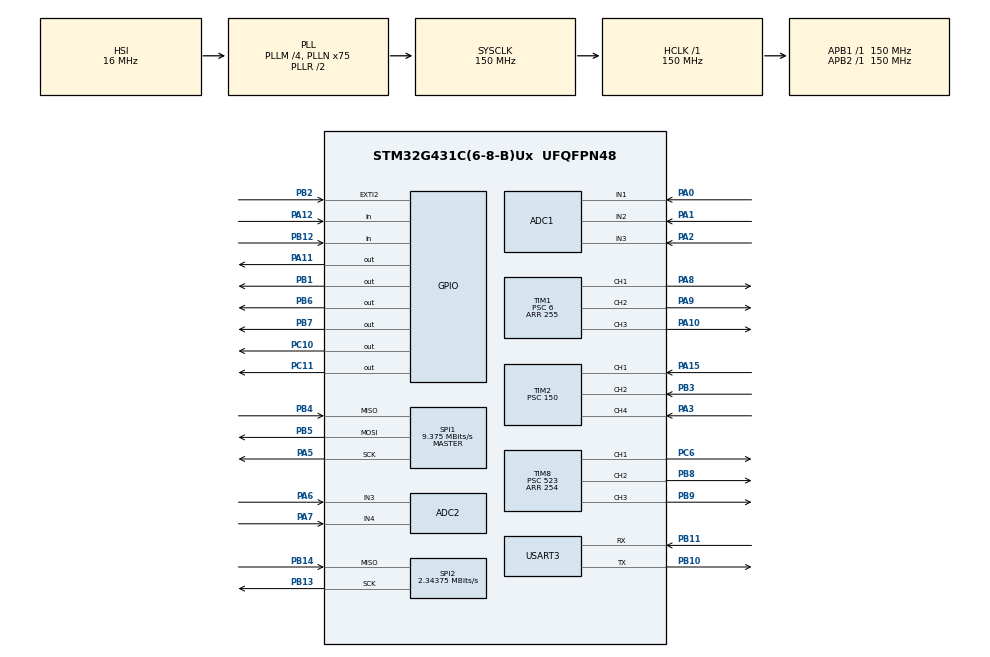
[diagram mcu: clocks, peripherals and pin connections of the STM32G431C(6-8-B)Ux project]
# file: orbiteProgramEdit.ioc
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ADC1.Channel-1\#ChannelRegularConversion=ADC_CHANNEL_1
ADC1.Channel-2\#ChannelRegularConversion=ADC_CHANNEL_1
ADC1.Channel-3\#ChannelRegularConversion=ADC_CHANNEL_1
ADC1.ClockPrescaler=ADC_CLOCK_ASYNC_DIV4
ADC1.ContinuousConvMode=DISABLE
ADC1.DMAContinuousRequests=DISABLE
ADC1.EOCSelection=ADC_EOC_SINGLE_CONV
ADC1.EnableRegularConversion=ENABLE
ADC1.ExternalTrigConv=ADC_SOFTWARE_START
ADC1.Mode=ADC_MODE_INDEPENDENT
ADC1.NbrOfConversion=3
ADC1.NbrOfConversionFlag=1
ADC1.OffsetNumber-1\#ChannelRegularConversion=ADC_OFFSET_NONE
ADC1.OffsetNumber-2\#ChannelRegularConversion=ADC_OFFSET_NONE
ADC1.OffsetNumber-3\#ChannelRegularConversion=ADC_OFFSET_NONE
ADC1.Rank-1\#ChannelRegularConversion=1
ADC1.Rank-2\#ChannelRegularConversion=2
ADC1.Rank-3\#ChannelRegularConversion=3
ADC1.SamplingTime-1\#ChannelRegularConversion=ADC_SAMPLETIME_12CYCLES_5
ADC1.SamplingTime-2\#ChannelRegularConversion=ADC_SAMPLETIME_12CYCLES_5
ADC1.SamplingTime-3\#ChannelRegularConversion=ADC_SAMPLETIME_12CYCLES_5
ADC1.master=1
ADC2.Channel-1\#ChannelRegularConversion=ADC_CHANNEL_3
ADC2.Channel-2\#ChannelRegularConversion=ADC_CHANNEL_4
ADC2.ClockPrescaler=ADC_CLOCK_ASYNC_DIV4
ADC2.ContinuousConvMode=ENABLE
ADC2.EOCSelection=ADC_EOC_SEQ_CONV
ADC2.NbrOfConversion=2
ADC2.NbrOfConversionFlag=1
ADC2.OffsetNumber-1\#ChannelRegularConversion=ADC_OFFSET_NONE
ADC2.OffsetNumber-2\#ChannelRegularConversion=ADC_OFFSET_NONE
ADC2.Rank-1\#ChannelRegularConversion=1
ADC2.Rank-2\#ChannelRegularConversion=2
ADC2.SamplingTime-1\#ChannelRegularConversion=ADC_SAMPLETIME_24CYCLES_5
ADC2.SamplingTime-2\#ChannelRegularConversion=ADC_SAMPLETIME_24CYCLES_5
Mcu.Family=STM32G4
Mcu.Name=STM32G431C(6-8-B)Ux
Mcu.Package=UFQFPN48
NVIC.EXTI2_IRQn=true\:0\:0\:false\:false\:true\:true\:true\:true
NVIC.PriorityGroup=NVIC_PRIORITYGROUP_4
NVIC.TIM2_IRQn=true\:0\:0\:false\:false\:true\:true\:true\:true
NVIC.USART3_IRQn=true\:0\:0\:false\:false\:true\:true\:true\:true
PA0.Mode=IN1-Single-Ended
PA0.Signal=ADC1_IN1
PA1.Mode=IN2-Single-Ended
PA1.Signal=ADC1_IN2
PA10.Signal=S_TIM1_CH3
PA11.Signal=GPIO_Output
PA12.Signal=GPIO_Input
PA13.Mode=Serial_Wire
PA13.Signal=SYS_JTMS-SWDIO
PA14.Mode=Serial_Wire
PA14.Signal=SYS_JTCK-SWCLK
PA15.Signal=S_TIM2_CH1
PA2.Mode=IN3-Single-Ended
PA2.Signal=ADC1_IN3
PA3.Signal=S_TIM2_CH4
PA5.Mode=Full_Duplex_Master
PA5.Signal=SPI1_SCK
PA6.Mode=IN3-Single-Ended
PA6.Signal=ADC2_IN3
PA7.Mode=IN4-Single-Ended
PA7.Signal=ADC2_IN4
PA8.Signal=S_TIM1_CH1
PA9.Signal=S_TIM1_CH2
PB1.Signal=GPIO_Output
PB10.Mode=Asynchronous
PB10.Signal=USART3_TX
PB11.Mode=Asynchronous
PB11.Signal=USART3_RX
PB12.Signal=GPIO_Input
PB13.Mode=RX_Only_Simplex_Unidirect_Master
PB13.Signal=SPI2_SCK
PB14.Mode=RX_Only_Simplex_Unidirect_Master
PB14.Signal=SPI2_MISO
PB2.Signal=GPXTI2
PB3.Signal=S_TIM2_CH2
PB4.Mode=Full_Duplex_Master
PB4.Signal=SPI1_MISO
PB5.Mode=Full_Duplex_Master
PB5.Signal=SPI1_MOSI
PB6.Signal=GPIO_Output
PB7.Signal=GPIO_Output
PB8-BOOT0.Signal=S_TIM8_CH2
PB9.Signal=S_TIM8_CH3
PC10.Signal=GPIO_Output
PC11.Signal=GPIO_Output
PC6.Signal=S_TIM8_CH1
ProjectManager.HeapSize=0x200
ProjectManager.StackSize=0x400
ProjectManager.TargetToolchain=Makefile
RCC.ADC12Freq_Value=150000000
RCC.AHBFreq_Value=150000000
RCC.APB1Freq_Value=150000000
RCC.APB1TimFreq_Value=150000000
RCC.APB2Freq_Value=150000000
RCC.APB2TimFreq_Value=150000000
RCC.CortexFreq_Value=150000000
RCC.EXTERNAL_CLOCK_VALUE=12288000
RCC.HCLKFreq_Value=150000000
RCC.HSE_VALUE=8000000
RCC.HSI48_VALUE=48000000
RCC.HSI_VALUE=16000000
RCC.LSE_VALUE=32768
RCC.PLLM=RCC_PLLM_DIV4
RCC.PLLN=75
RCC.SYSCLKFreq_VALUE=150000000
RCC.SYSCLKSource=RCC_SYSCLKSOURCE_PLLCLK
RCC.USBFreq_Value=150000000
RCC.VCOOutputFreq_Value=300000000
SH.S_TIM1_CH1.0=TIM1_CH1,PWM Generation1 CH1
SH.S_TIM1_CH2.0=TIM1_CH2,PWM Generation2 CH2
SH.S_TIM1_CH3.0=TIM1_CH3,PWM Generation3 CH3
SH.S_TIM2_CH1.0=TIM2_CH1,Input_Capture1_from_TI1
SH.S_TIM2_CH2.0=TIM2_CH2,Input_Capture2_from_TI2
SH.S_TIM2_CH4.0=TIM2_CH4,Input_Capture4_from_TI4
SH.S_TIM8_CH1.0=TIM8_CH1,PWM Generation1 CH1
SH.S_TIM8_CH2.0=TIM8_CH2,PWM Generation2 CH2
SH.S_TIM8_CH3.0=TIM8_CH3,PWM Generation3 CH3
SPI1.BaudRatePrescaler=SPI_BAUDRATEPRESCALER_16
SPI1.CLKPolarity=SPI_POLARITY_HIGH
SPI1.CalculateBaudRate=9.375 MBits/s
SPI1.DataSize=SPI_DATASIZE_16BIT
SPI1.Direction=SPI_DIRECTION_2LINES
SPI1.Mode=SPI_MODE_MASTER
SPI1.VirtualType=VM_MASTER
SPI2.BaudRatePrescaler=SPI_BAUDRATEPRESCALER_64
SPI2.CLKPolarity=SPI_POLARITY_HIGH
SPI2.CalculateBaudRate=2.34375 MBits/s
SPI2.DataSize=SPI_DATASIZE_12BIT
SPI2.Direction=SPI_DIRECTION_2LINES_RXONLY
SPI2.Mode=SPI_MODE_MASTER
SPI2.VirtualType=VM_MASTER
TIM1.Channel-PWM\ Generation1\ CH1=TIM_CHANNEL_1
TIM1.Channel-PWM\ Generation2\ CH2=TIM_CHANNEL_2
TIM1.Channel-PWM\ Generation3\ CH3=TIM_CHANNEL_3
TIM1.CounterMode=TIM_COUNTERMODE_CENTERALIGNED1
TIM1.OCMode_PWM-PWM\ Generation1\ CH1=TIM_OCMODE_PWM1
TIM1.OCMode_PWM-PWM\ Generation2\ CH2=TIM_OCMODE_PWM1
TIM1.OCMode_PWM-PWM\ Generation3\ CH3=TIM_OCMODE_PWM1
TIM1.PeriodNoDither=255
TIM1.Prescaler=6
TIM1.TIM_MasterOutputTrigger=TIM_TRGO_UPDATE
TIM17.Prescaler=150
TIM2.Channel-Input_Capture1_from_TI1=TIM_CHANNEL_1
TIM2.Channel-Input_Capture2_from_TI2=TIM_CHANNEL_2
TIM2.Channel-Input_Capture4_from_TI4=TIM_CHANNEL_4
TIM2.ICPolarity_CH1=TIM_INPUTCHANNELPOLARITY_BOTHEDGE
TIM2.Prescaler=150
TIM8.Channel-PWM\ Generation1\ CH1=TIM_CHANNEL_1
TIM8.Channel-PWM\ Generation2\ CH2=TIM_CHANNEL_2
TIM8.Channel-PWM\ Generation3\ CH3=TIM_CHANNEL_3
TIM8.OCMode_PWM-PWM\ Generation3\ CH3=TIM_OCMODE_PWM1
TIM8.PeriodNoDither=254
TIM8.Prescaler=523
USART3.VirtualMode-Asynchronous=VM_ASYNC
VP_SYS_VS_DBSignals.Mode=DisableDeadBatterySignals
VP_TIM17_VS_ClockSourceINT.Mode=Enable_Timer
VP_TIM1_VS_ClockSourceINT.Mode=Internal
board=custom

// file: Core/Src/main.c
/* USER CODE BEGIN Header */
/**
  ******************************************************************************
  * @file           : main.c
  * @brief          : Main program body
  ******************************************************************************
  * @attention
  *
  * Copyright (c) 2024 STMicroelectronics.
  * All rights reserved.
  *
  * This software is licensed under terms that can be found in the LICENSE file
  * in the root directory of this software component.
  * If no LICENSE file comes with this software, it is provided AS-IS.
  *
  ******************************************************************************
  */
/* USER CODE END Header */
#include "main.h"

/* USER CODE BEGIN Includes */
#include "motor.h"
#include "stm32g4xx.h"
#include "stm32g431xx.h"
#include "stm32g4xx_hal.h"

/* USER CODE END Includes */

/* USER CODE BEGIN PD */
#define ADC_BUF_LENGTH 4096
#define TIMCLOCK   150000000
#define PRESCALAR  150
/* USER CODE END PD */

ADC_HandleTypeDef hadc1;
ADC_HandleTypeDef hadc2;

SPI_HandleTypeDef hspi1;
SPI_HandleTypeDef hspi2;

TIM_HandleTypeDef htim1;
TIM_HandleTypeDef htim2;
TIM_HandleTypeDef htim8;
TIM_HandleTypeDef htim17;

UART_HandleTypeDef huart3;

/* USER CODE BEGIN PV */
uint16_t adc1Buf[3];
uint16_t adc2Buf[2];
uint8_t adcDataReady;
uint8_t uartDataReady;
uint32_t tim1Val1 = 0;
uint32_t tim1Val2 = 0;
uint32_t Difference1 = 0;
int isFirstCap1 = 0;
float frequency1 = 0;
uint32_t tim2Val1 = 0;
uint32_t tim2Val2 = 0;
uint32_t Difference2 = 0;
int isFirstCap2 = 0;
float frequency2 = 0;
uint32_t tim3Val1 = 0;
uint32_t tim3Val2 = 0;
uint32_t Difference3 = 0;
int isFirstCap3 = 0;
float frequency3 = 0;
float combinedSpeed;
float lastSpeedErr;

double angle;
motor_t motor;
gpio_Pin Hall_1 = { .gpioGroup = GPIOA, .gpioPin = GPIO_PIN_3 };        //TIM2 CH4
gpio_Pin Hall_2 = { .gpioGroup = GPIOB, .gpioPin = GPIO_PIN_3 };        //TIM2 CH2
gpio_Pin Hall_3 = { .gpioGroup = GPIOA, .gpioPin = GPIO_PIN_15 };       //TIM2 CH1
gpio_Pin fault = { .gpioGroup = GPIOA, .gpioPin = GPIO_PIN_12 };	//FAULT
gpio_Pin txen = { .gpioGroup = GPIOB, .gpioPin = GPIO_PIN_1 };            //txen
gpio_Pin imuInt = { .gpioGroup = GPIOB, .gpioPin = GPIO_PIN_2 };
gpio_Pin imuCS = { .gpioGroup = GPIOA, .gpioPin = GPIO_PIN_11 };
double newAngle;
bool doDMArx;
gpio_Pin ena = { .gpioGroup = GPIOC, .gpioPin = GPIO_PIN_10 };            //motor ENA
gpio_Pin enb = { .gpioGroup = GPIOC, .gpioPin = GPIO_PIN_11 };            //motor ENB
gpio_Pin enc = { .gpioGroup = GPIOB, .gpioPin = GPIO_PIN_6 };            //motor ENC
gpio_Pin motor_Sleep = { .gpioGroup = GPIOB, .gpioPin = GPIO_PIN_7 };          //motor SLEEP
gpio_Pin proxi = { .gpioGroup = GPIOB, .gpioPin = GPIO_PIN_12 };         //proxy
uint8_t rx_buff[5];
uint8_t isDA[] = {0xDA, 0XBA, 0xD0, 0x00};
uint8_t retDA[] = {0x00, 0xD0, 0xBA, 0xDA};

int address[8] = {0,1, 1, 0, 1, 1, 0, 0};
int startState;
int nextState;
uint32_t timVal1 = 0;
uint32_t timVal2 = 0;
uint32_t Difference = 0;
int isFirstCap = 0;
float frequency = 0;
uint8_t lastHallState;
int hallCount;
int revolutions;
int timerCount;
int toggleState;
uint32_t node = 0x69;
/* USER CODE END PV */

void SystemClock_Config(void);
static void MX_GPIO_Init(void);
static void MX_ADC1_Init(void);
static void MX_ADC2_Init(void);
static void MX_SPI1_Init(void);
static void MX_TIM1_Init(void);
static void MX_TIM2_Init(void);
static void MX_TIM8_Init(void);
static void MX_USART3_UART_Init(void);
static void MX_SPI2_Init(void);
static void MX_TIM17_Init(void);
/* USER CODE BEGIN PFP */
void RGB_Init(void);
void RGB_setIntensity(uint8_t red, uint8_t green, uint8_t blue);
/* USER CODE END PFP */

/* USER CODE BEGIN 0 */
void HAL_UART_RxCpltCallback(UART_HandleTypeDef *huart){
    if(1){  // RX is complete
        // SYNC
        if(rx_buff[0] == isDA[0] && rx_buff[1] == isDA[1] && rx_buff[2] == isDA[2] && rx_buff[3] == isDA[3]){
        	RGB_setIntensity(186, 26, 133); //186, 26, 133
        	HAL_GPIO_WritePin(txen.gpioGroup, txen.gpioPin, 1); // setting txen high
        	HAL_UART_Transmit(&huart3, retDA, 4, 100);
        	HAL_GPIO_WritePin(txen.gpioGroup, txen.gpioPin, 0); // setting txen low
        }
    }
}
void readAccel(void){
	int buffer[8];
	int rxBuffer[8];
	buffer[0] = 1; // read mode
	HAL_GPIO_WritePin(imuCS.gpioGroup, imuCS.gpioPin, 0); // setting CS LOW
	for(int i = 1; i < 8; i++){
		buffer[i] = address[i-1];
	}
	HAL_SPI_Transmit(&hspi1, &buffer, 1, 100);
	HAL_SPI_Receive(&hspi1, rxBuffer, 1, 100);
	HAL_GPIO_WritePin(imuCS.gpioGroup, imuCS.gpioPin, 1);// setting CS HIGH
}
void HAL_ADC_ConvCpltCallback(ADC_HandleTypeDef *hadc){
  _adcHandler(&motor);
  //start again
  //HAL_ADC_Start_DMA(motor.adc, (uint32_t *) motor.adcData, 3);
  return;
}
void goTo(int steps){
	int timeSteps;
	int lastStep;
	motor.hallCount = 0;
	HAL_GPIO_WritePin(motor_Sleep.gpioGroup, motor_Sleep.gpioPin, 1);
	HAL_TIM_Base_Start(&htim17);
	while(motor.hallCount < steps){
		readHalls(&motor);
		timeSteps = __HAL_TIM_GET_COUNTER(&htim17);
		MOTOR_SVPWMtask(&motor);
		motor.speed =(double) (motor.hallCount)/(timeSteps - lastStep);
		lastStep = timeSteps;
		if(motor.hallspeed > 20.0f){
			motor.dutyCycle -= 0.0001;
		}
	}
	HAL_TIM_Base_Stop(&htim17);
	HAL_GPIO_WritePin(motor_Sleep.gpioGroup, motor_Sleep.gpioPin, 0);
}
void RGB_Init(void){
  // initiate all pins for RGB LED
  HAL_TIM_PWM_Start(&htim8, TIM_CHANNEL_1);
  HAL_TIM_PWM_Start(&htim8, TIM_CHANNEL_2);
  HAL_TIM_PWM_Start(&htim8, TIM_CHANNEL_3);
}

void HAL_TIM_IC_CaptureCallback(TIM_HandleTypeDef *htim)
{
	if (HAL_TIM_GetActiveChannel(htim) == HAL_TIM_ACTIVE_CHANNEL_1)
	{
		motor.hallCount++;
		if (isFirstCap1==0) // if the first rising edge is not captured
			{
			tim1Val1 = HAL_TIM_ReadCapturedValue(htim, TIM_CHANNEL_1); // read the first value
			isFirstCap1 = 1;  // set the first captured as true
			}
		else   // If the first rising edge is captured, now we will capture the second edge
		{
			tim1Val2 = HAL_TIM_ReadCapturedValue(htim, TIM_CHANNEL_1);  // read second value
			if (tim1Val2 > tim1Val1)
			{
				Difference1 = tim1Val2-tim1Val1;
			}
			else if (tim1Val1 > tim1Val2)
				{
					Difference1 = (0xffffffff - tim1Val1) + tim1Val2;
				}
			float refClock = TIMCLOCK/(PRESCALAR);
			frequency1 = refClock/Difference1;
			__HAL_TIM_SET_COUNTER(htim, 0);  // reset the counter
			isFirstCap1 = 0; // set it back to false
			motor.hallspeed = (frequency1);
		}
	}
	if (HAL_TIM_GetActiveChannel(htim) == HAL_TIM_ACTIVE_CHANNEL_2)
		{
			motor.hallCount++;
		}
	if (HAL_TIM_GetActiveChannel(htim) == HAL_TIM_ACTIVE_CHANNEL_4)
		{
			motor.hallCount++;
		}
	int timeSteps;
	HAL_TIM_Base_Stop(&htim17);
	timeSteps = __HAL_TIM_GET_COUNTER(&htim17);
	float refClock = TIMCLOCK/(PRESCALAR);
	motor.speed = (60.0f * 3.14159 / 180.0f )*((double)refClock/timeSteps);
	htim17.Instance->CNT = 0;
	HAL_TIM_Base_Start(&htim17);
/**
	if (HAL_TIM_GetActiveChannel(htim) == HAL_TIM_ACTIVE_CHANNEL_2)
	{
		if (isFirstCap2==0) // if the first rising edge is not captured
			{
			tim2Val1 = HAL_TIM_ReadCapturedValue(htim, TIM_CHANNEL_2); // read the first value
			isFirstCap2 = 1;  // set the first captured as true
			}
		else   // If the first rising edge is captured, now we will capture the second edge
		{
			tim2Val2 = HAL_TIM_ReadCapturedValue(htim, TIM_CHANNEL_2);  // read second value
			if (tim2Val2 > tim2Val1)
			{
				Difference2 = tim2Val2-tim2Val1;
			}
			else if (tim2Val1 > tim2Val2)
				{
					Difference2 = (0xffffffff - tim2Val1) + tim2Val2;
				}
			float refClock = TIMCLOCK/(PRESCALAR);
			frequency2 = refClock/Difference2;
			__HAL_TIM_SET_COUNTER(htim, 0);  // reset the counter
			isFirstCap2 = 0; // set it back to false
			motor.hallspeed = (frequency2 / 2);
		}
	}
	if (HAL_TIM_GetActiveChannel(htim) == HAL_TIM_ACTIVE_CHANNEL_4)
	{
		if (isFirstCap3==0) // if the first rising edge is not captured
			{
			tim3Val1 = HAL_TIM_ReadCapturedValue(htim, TIM_CHANNEL_4); // read the first value
			isFirstCap3 = 1;  // set the first captured as true
			}
		else   // If the first rising edge is captured, now we will capture the second edge
		{
			tim3Val2 = HAL_TIM_ReadCapturedValue(htim, TIM_CHANNEL_4);  // read second value
			if (tim3Val2 > tim3Val1)
			{
				Difference3 = tim3Val2-tim3Val1;
			}
3:59
else if (tim3Val1 > tim3Val2)
				{
					Difference3 = (0xffffffff - tim3Val1) + tim3Val2;
				}
			float refClock = TIMCLOCK/(PRESCALAR);
			frequency3 = refClock/Difference3;
			__HAL_TIM_SET_COUNTER(htim, 0);  // reset the counter
			isFirstCap3 = 0; // set it back to false
			motor.hallspeed = (frequency3 / 2);
		}
	}
**/
	return;
}
void RGB_setIntensity(uint8_t red, uint8_t green, uint8_t blue){
  if(red > 255){
    red = 255;
  }
  else if(red < 0){
    red = 0;
  }
  if(blue > 255){
    blue = 255;
  }
  else if(blue < 0){
    blue = 0;
  }
  if(green > 255){
    green = 255;
  }
  else if(green < 0){
    green = 0;
  }
  htim8.Instance->CCR1 = red;
  htim8.Instance->CCR2 = green;
  htim8.Instance->CCR3 = blue;
}
/* USER CODE END 0 */

int main(void)
{

  /* MCU Configuration--------------------------------------------------------*/

  /* Reset of all peripherals, Initializes the Flash interface and the Systick. */
  HAL_Init();

  /* Configure the system clock */
  SystemClock_Config();

  /* Initialize all configured peripherals */
  MX_GPIO_Init();
  MX_ADC1_Init();
  MX_ADC2_Init();
  MX_SPI1_Init();
  MX_TIM1_Init();
  MX_TIM2_Init();
  MX_TIM8_Init();
  MX_USART3_UART_Init();
  MX_SPI2_Init();
  MX_TIM17_Init();
  /* USER CODE BEGIN 2 */
  // Set up joystick
  //input capture
  //HAL_TIM_IC_Start_IT(&htim2, TIM_CHANNEL_1);
  //HAL_TIM_IC_Start_IT(&htim2, TIM_CHANNEL_2);
  //HAL_TIM_IC_Start_IT(&htim2, TIM_CHANNEL_4);
  // set up motor struct
  motor.pwm = &htim1;
  motor.adc = &hadc1;
  motor.encoder = &hspi2;
  // Enable pins
  motor.enablePins[0] = ena;
  motor.enablePins[1] = enb;
  motor.enablePins[2] = enc;
  motor.motorSleep = motor_Sleep;
  motor.hallPins[0] = Hall_1;
  motor.hallPins[1] = Hall_2;
  motor.hallPins[2] = Hall_3;
  motor.dutyCycle = 0.3;
  motor.dir = 1;        // make go forward
  HAL_GPIO_WritePin(motor_Sleep.gpioGroup, motor_Sleep.gpioPin, 1);
  MOTOR_init(&motor);
  if( HAL_TIM_IC_Start_IT(&htim2, TIM_CHANNEL_1) != HAL_OK){
  	  Error_Handler();
  }
  if( HAL_TIM_IC_Start_IT(&htim2, TIM_CHANNEL_2) != HAL_OK){
	  Error_Handler();
  }
  if( HAL_TIM_IC_Start_IT(&htim2, TIM_CHANNEL_4) != HAL_OK){
  	  Error_Handler();
  }
  toggleState = 0;
//
  //VIC_Serial_Init(node, &huart3, txen.gpioGroup,  txen.gpioPin, true, &hdma_usart3_rx);
  //uint16_t angle;
  //HAL_ADC_Start_DMA(motor.adc, &motor.adcData, 3); // start ADC DMA
  double kp = 0.0000003;
  double kd = 0.0008;
  double lastDuty = 0;
  double speedErr = 0;
	//goTo(5000);
  /* USER CODE END 2 */

  /* Infinite loop */
  while (1)
  {

    /* USER CODE BEGIN 3 */
	    //RGB_setIntensity(0, 255, 191);
	    readHalls(&motor);
	    /**
	    if(motor.hallState != motor.lastHallState){
	  	  if(motor.hallState == 0b100){
	  		  if(toggleState == 1){
	  			  HAL_TIM_Base_Stop(&htim17);
	  			  hallCount = __HAL_TIM_GET_COUNTER(&htim17);
	  			  htim17.Instance->CNT = 0;
	  			  toggleState = 0;
	  			  float refClock = TIMCLOCK/(PRESCALAR);
	  			  motor.stateSpeed = 1.0f /(refClock/hallCount);
	  		  }
	  		  else{
		  		  revolutions++;
		  		  HAL_TIM_Base_Start(&htim17);
		  		  toggleState = 1;
	  		  }
	  	  }
	    }
	    **/
	    //motor.angle = motor.angle + (double)(htim17.Instance->CNT / 255);
	    /**
	  motor.lastHallState = motor.hallState;
    **/
	  speedErr = (double)(100.0f - motor.hallspeed);
	  motor.dutyCycle = motor.dutyCycle + (double)(kp *speedErr) + (double)(kd * (speedErr - lastSpeedErr));
		if(motor.dutyCycle > 0.4){
			motor.dutyCycle = 0.4f;
		}
		else if(motor.dutyCycle < 0.005f){
			motor.dutyCycle = 0.005f;
		}

	    //angle  = readEncoder(&motor);
	    //Command_Task();
	    //HAL_GPIO_WritePin(txen.gpioGroup, txen.gpioPin, 1); // setting txen high
	    //HAL_UART_Transmit(&huart3, isDA, 4, 100);
	    //HAL_GPIO_WritePin(txen.gpioGroup, txen.gpioPin, 0); // setting txen low
	    //HAL_Delay(1);
	    MOTOR_SVPWMtask(&motor);
	    //MOTOR_task(&motor); // spins motor continu` ously
	    //MOTOR_FOCtask(&motor);
	    //readAccel();
	    lastSpeedErr = speedErr;
		lastDuty = motor.dutyCycle;
  }
  /* USER CODE END 3 */
}

void SystemClock_Config(void)
{
  RCC_OscInitTypeDef RCC_OscInitStruct = {0};
  RCC_ClkInitTypeDef RCC_ClkInitStruct = {0};

  /** Configure the main internal regulator output voltage
  */
  HAL_PWREx_ControlVoltageScaling(PWR_REGULATOR_VOLTAGE_SCALE1);

  /** Initializes the RCC Oscillators according to the specified parameters
  * in the RCC_OscInitTypeDef structure.
  */
  RCC_OscInitStruct.OscillatorType = RCC_OSCILLATORTYPE_HSI;
  RCC_OscInitStruct.HSIState = RCC_HSI_ON;
  RCC_OscInitStruct.HSICalibrationValue = RCC_HSICALIBRATION_DEFAULT;
  RCC_OscInitStruct.PLL.PLLState = RCC_PLL_ON;
  RCC_OscInitStruct.PLL.PLLSource = RCC_PLLSOURCE_HSI;
  RCC_OscInitStruct.PLL.PLLM = RCC_PLLM_DIV4;
  RCC_OscInitStruct.PLL.PLLN = 75;
  RCC_OscInitStruct.PLL.PLLP = RCC_PLLP_DIV2;
  RCC_OscInitStruct.PLL.PLLQ = RCC_PLLQ_DIV2;
  RCC_OscInitStruct.PLL.PLLR = RCC_PLLR_DIV2;
  if (HAL_RCC_OscConfig(&RCC_OscInitStruct) != HAL_OK)
  {
    Error_Handler();
  }

  /** Initializes the CPU, AHB and APB buses clocks
  */
  RCC_ClkInitStruct.ClockType = RCC_CLOCKTYPE_HCLK|RCC_CLOCKTYPE_SYSCLK
                              |RCC_CLOCKTYPE_PCLK1|RCC_CLOCKTYPE_PCLK2;
  RCC_ClkInitStruct.SYSCLKSource = RCC_SYSCLKSOURCE_PLLCLK;
  RCC_ClkInitStruct.AHBCLKDivider = RCC_SYSCLK_DIV1;
  RCC_ClkInitStruct.APB1CLKDivider = RCC_HCLK_DIV1;
  RCC_ClkInitStruct.APB2CLKDivider = RCC_HCLK_DIV1;

  if (HAL_RCC_ClockConfig(&RCC_ClkInitStruct, FLASH_LATENCY_4) != HAL_OK)
  {
    Error_Handler();
  }
}

static void MX_ADC1_Init(void)
{

  ADC_MultiModeTypeDef multimode = {0};
  ADC_ChannelConfTypeDef sConfig = {0};

  /** Common config
  */
  hadc1.Instance = ADC1;
  hadc1.Init.ClockPrescaler = ADC_CLOCK_ASYNC_DIV4;
  hadc1.Init.Resolution = ADC_RESOLUTION_12B;
  hadc1.Init.DataAlign = ADC_DATAALIGN_RIGHT;
  hadc1.Init.GainCompensation = 0;
  hadc1.Init.ScanConvMode = ADC_SCAN_ENABLE;
  hadc1.Init.EOCSelection = ADC_EOC_SINGLE_CONV;
  hadc1.Init.LowPowerAutoWait = DISABLE;
  hadc1.Init.ContinuousConvMode = DISABLE;
  hadc1.Init.NbrOfConversion = 3;
  hadc1.Init.DiscontinuousConvMode = DISABLE;
  hadc1.Init.ExternalTrigConv = ADC_SOFTWARE_START;
  hadc1.Init.ExternalTrigConvEdge = ADC_EXTERNALTRIGCONVEDGE_NONE;
  hadc1.Init.DMAContinuousRequests = DISABLE;
  hadc1.Init.Overrun = ADC_OVR_DATA_PRESERVED;
  hadc1.Init.OversamplingMode = DISABLE;
  if (HAL_ADC_Init(&hadc1) != HAL_OK)
  {
    Error_Handler();
  }

  /** Configure the ADC multi-mode
  */
  multimode.Mode = ADC_MODE_INDEPENDENT;
  if (HAL_ADCEx_MultiModeConfigChannel(&hadc1, &multimode) != HAL_OK)
  {
    Error_Handler();
  }

  /** Configure Regular Channel
  */
  sConfig.Channel = ADC_CHANNEL_1;
  sConfig.Rank = ADC_REGULAR_RANK_1;
  sConfig.SamplingTime = ADC_SAMPLETIME_12CYCLES_5;
  sConfig.SingleDiff = ADC_SINGLE_ENDED;
  sConfig.OffsetNumber = ADC_OFFSET_NONE;
  sConfig.Offset = 0;
  if (HAL_ADC_ConfigChannel(&hadc1, &sConfig) != HAL_OK)
  {
    Error_Handler();
  }

  /** Configure Regular Channel
  */
  sConfig.Rank = ADC_REGULAR_RANK_2;
  if (HAL_ADC_ConfigChannel(&hadc1, &sConfig) != HAL_OK)
  {
    Error_Handler();
  }

  /** Configure Regular Channel
  */
  sConfig.Rank = ADC_REGULAR_RANK_3;
  if (HAL_ADC_ConfigChannel(&hadc1, &sConfig) != HAL_OK)
  {
    Error_Handler();
  }

}

static void MX_ADC2_Init(void)
{

  ADC_ChannelConfTypeDef sConfig = {0};

  /** Common config
  */
  hadc2.Instance = ADC2;
  hadc2.Init.ClockPrescaler = ADC_CLOCK_ASYNC_DIV4;
  hadc2.Init.Resolution = ADC_RESOLUTION_12B;
  hadc2.Init.DataAlign = ADC_DATAALIGN_RIGHT;
  hadc2.Init.GainCompensation = 0;
  hadc2.Init.ScanConvMode = ADC_SCAN_ENABLE;
  hadc2.Init.EOCSelection = ADC_EOC_SEQ_CONV;
  hadc2.Init.LowPowerAutoWait = DISABLE;
  hadc2.Init.ContinuousConvMode = ENABLE;
  hadc2.Init.NbrOfConversion = 2;
  hadc2.Init.DiscontinuousConvMode = DISABLE;
  hadc2.Init.ExternalTrigConv = ADC_SOFTWARE_START;
  hadc2.Init.ExternalTrigConvEdge = ADC_EXTERNALTRIGCONVEDGE_NONE;
  hadc2.Init.DMAContinuousRequests = DISABLE;
  hadc2.Init.Overrun = ADC_OVR_DATA_PRESERVED;
  hadc2.Init.OversamplingMode = DISABLE;
  if (HAL_ADC_Init(&hadc2) != HAL_OK)
  {
    Error_Handler();
  }

  /** Configure Regular Channel
  */
  sConfig.Channel = ADC_CHANNEL_3;
  sConfig.Rank = ADC_REGULAR_RANK_1;
  sConfig.SamplingTime = ADC_SAMPLETIME_24CYCLES_5;
  sConfig.SingleDiff = ADC_SINGLE_ENDED;
  sConfig.OffsetNumber = ADC_OFFSET_NONE;
  sConfig.Offset = 0;
  if (HAL_ADC_ConfigChannel(&hadc2, &sConfig) != HAL_OK)
  {
    Error_Handler();
  }

  /** Configure Regular Channel
  */
  sConfig.Channel = ADC_CHANNEL_4;
  sConfig.Rank = ADC_REGULAR_RANK_2;
  if (HAL_ADC_ConfigChannel(&hadc2, &sConfig) != HAL_OK)
  {
    Error_Handler();
  }

}

static void MX_SPI1_Init(void)
{

  /* SPI1 parameter configuration*/
  hspi1.Instance = SPI1;
  hspi1.Init.Mode = SPI_MODE_MASTER;
  hspi1.Init.Direction = SPI_DIRECTION_2LINES;
  hspi1.Init.DataSize = SPI_DATASIZE_16BIT;
  hspi1.Init.CLKPolarity = SPI_POLARITY_HIGH;
  hspi1.Init.CLKPhase = SPI_PHASE_1EDGE;
  hspi1.Init.NSS = SPI_NSS_SOFT;
  hspi1.Init.BaudRatePrescaler = SPI_BAUDRATEPRESCALER_16;
  hspi1.Init.FirstBit = SPI_FIRSTBIT_MSB;
  hspi1.Init.TIMode = SPI_TIMODE_DISABLE;
  hspi1.Init.CRCCalculation = SPI_CRCCALCULATION_DISABLE;
  hspi1.Init.CRCPolynomial = 7;
  hspi1.Init.CRCLength = SPI_CRC_LENGTH_DATASIZE;
  hspi1.Init.NSSPMode = SPI_NSS_PULSE_ENABLE;
  if (HAL_SPI_Init(&hspi1) != HAL_OK)
  {
    Error_Handler();
  }

}

static void MX_SPI2_Init(void)
{

  /* SPI2 parameter configuration*/
  hspi2.Instance = SPI2;
  hspi2.Init.Mode = SPI_MODE_MASTER;
  hspi2.Init.Direction = SPI_DIRECTION_2LINES_RXONLY;
  hspi2.Init.DataSize = SPI_DATASIZE_12BIT;
  hspi2.Init.CLKPolarity = SPI_POLARITY_HIGH;
  hspi2.Init.CLKPhase = SPI_PHASE_1EDGE;
  hspi2.Init.NSS = SPI_NSS_SOFT;
  hspi2.Init.BaudRatePrescaler = SPI_BAUDRATEPRESCALER_64;
  hspi2.Init.FirstBit = SPI_FIRSTBIT_MSB;
  hspi2.Init.TIMode = SPI_TIMODE_DISABLE;
  hspi2.Init.CRCCalculation = SPI_CRCCALCULATION_DISABLE;
  hspi2.Init.CRCPolynomial = 7;
  hspi2.Init.CRCLength = SPI_CRC_LENGTH_DATASIZE;
  hspi2.Init.NSSPMode = SPI_NSS_PULSE_ENABLE;
  if (HAL_SPI_Init(&hspi2) != HAL_OK)
  {
    Error_Handler();
  }

}

static void MX_TIM1_Init(void)
{

  TIM_ClockConfigTypeDef sClockSourceConfig = {0};
  TIM_MasterConfigTypeDef sMasterConfig = {0};
  TIM_OC_InitTypeDef sConfigOC = {0};
  TIM_BreakDeadTimeConfigTypeDef sBreakDeadTimeConfig = {0};

  htim1.Instance = TIM1;
  htim1.Init.Prescaler = 6;
  htim1.Init.CounterMode = TIM_COUNTERMODE_CENTERALIGNED1;
  htim1.Init.Period = 255;
  htim1.Init.ClockDivision = TIM_CLOCKDIVISION_DIV1;
  htim1.Init.RepetitionCounter = 0;
  htim1.Init.AutoReloadPreload = TIM_AUTORELOAD_PRELOAD_DISABLE;
  if (HAL_TIM_Base_Init(&htim1) != HAL_OK)
  {
    Error_Handler();
  }
  sClockSourceConfig.ClockSource = TIM_CLOCKSOURCE_INTERNAL;
  if (HAL_TIM_ConfigClockSource(&htim1, &sClockSourceConfig) != HAL_OK)
  {
    Error_Handler();
  }
  if (HAL_TIM_PWM_Init(&htim1) != HAL_OK)
  {
    Error_Handler();
  }
  sMasterConfig.MasterOutputTrigger = TIM_TRGO_UPDATE;
  sMasterConfig.MasterOutputTrigger2 = TIM_TRGO2_RESET;
  sMasterConfig.MasterSlaveMode = TIM_MASTERSLAVEMODE_DISABLE;
  if (HAL_TIMEx_MasterConfigSynchronization(&htim1, &sMasterConfig) != HAL_OK)
  {
    Error_Handler();
  }
  sConfigOC.OCMode = TIM_OCMODE_PWM1;
  sConfigOC.Pulse = 0;
  sConfigOC.OCPolarity = TIM_OCPOLARITY_HIGH;
  sConfigOC.OCNPolarity = TIM_OCNPOLARITY_HIGH;
  sConfigOC.OCFastMode = TIM_OCFAST_DISABLE;
  sConfigOC.OCIdleState = TIM_OCIDLESTATE_RESET;
  sConfigOC.OCNIdleState = TIM_OCNIDLESTATE_RESET;
  if (HAL_TIM_PWM_ConfigChannel(&htim1, &sConfigOC, TIM_CHANNEL_1) != HAL_OK)
  {
    Error_Handler();
  }
  if (HAL_TIM_PWM_ConfigChannel(&htim1, &sConfigOC, TIM_CHANNEL_2) != HAL_OK)
  {
    Error_Handler();
  }
  if (HAL_TIM_PWM_ConfigChannel(&htim1, &sConfigOC, TIM_CHANNEL_3) != HAL_OK)
  {
    Error_Handler();
  }
  sBreakDeadTimeConfig.OffStateRunMode = TIM_OSSR_DISABLE;
  sBreakDeadTimeConfig.OffStateIDLEMode = TIM_OSSI_DISABLE;
  sBreakDeadTimeConfig.LockLevel = TIM_LOCKLEVEL_OFF;
  sBreakDeadTimeConfig.DeadTime = 0;
  sBreakDeadTimeConfig.BreakState = TIM_BREAK_DISABLE;
  sBreakDeadTimeConfig.BreakPolarity = TIM_BREAKPOLARITY_HIGH;
  sBreakDeadTimeConfig.BreakFilter = 0;
  sBreakDeadTimeConfig.BreakAFMode = TIM_BREAK_AFMODE_INPUT;
  sBreakDeadTimeConfig.Break2State = TIM_BREAK2_DISABLE;
  sBreakDeadTimeConfig.Break2Polarity = TIM_BREAK2POLARITY_HIGH;
  sBreakDeadTimeConfig.Break2Filter = 0;
  sBreakDeadTimeConfig.Break2AFMode = TIM_BREAK_AFMODE_INPUT;
  sBreakDeadTimeConfig.AutomaticOutput = TIM_AUTOMATICOUTPUT_DISABLE;
  if (HAL_TIMEx_ConfigBreakDeadTime(&htim1, &sBreakDeadTimeConfig) != HAL_OK)
  {
    Error_Handler();
  }
  HAL_TIM_MspPostInit(&htim1);

}

static void MX_TIM2_Init(void)
{

  TIM_MasterConfigTypeDef sMasterConfig = {0};
  TIM_IC_InitTypeDef sConfigIC = {0};

  htim2.Instance = TIM2;
  htim2.Init.Prescaler = 150;
  htim2.Init.CounterMode = TIM_COUNTERMODE_UP;
  htim2.Init.Period = 4294967295;
  htim2.Init.ClockDivision = TIM_CLOCKDIVISION_DIV1;
  htim2.Init.AutoReloadPreload = TIM_AUTORELOAD_PRELOAD_DISABLE;
  if (HAL_TIM_IC_Init(&htim2) != HAL_OK)
  {
    Error_Handler();
  }
  sMasterConfig.MasterOutputTrigger = TIM_TRGO_RESET;
  sMasterConfig.MasterSlaveMode = TIM_MASTERSLAVEMODE_DISABLE;
  if (HAL_TIMEx_MasterConfigSynchronization(&htim2, &sMasterConfig) != HAL_OK)
  {
    Error_Handler();
  }
  sConfigIC.ICPolarity = TIM_INPUTCHANNELPOLARITY_BOTHEDGE;
  sConfigIC.ICSelection = TIM_ICSELECTION_DIRECTTI;
  sConfigIC.ICPrescaler = TIM_ICPSC_DIV1;
  sConfigIC.ICFilter = 0;
  if (HAL_TIM_IC_ConfigChannel(&htim2, &sConfigIC, TIM_CHANNEL_1) != HAL_OK)
  {
    Error_Handler();
  }
  sConfigIC.ICPolarity = TIM_INPUTCHANNELPOLARITY_RISING;
  if (HAL_TIM_IC_ConfigChannel(&htim2, &sConfigIC, TIM_CHANNEL_2) != HAL_OK)
  {
    Error_Handler();
  }
  if (HAL_TIM_IC_ConfigChannel(&htim2, &sConfigIC, TIM_CHANNEL_4) != HAL_OK)
  {
    Error_Handler();
  }

}

static void MX_TIM8_Init(void)
{

  TIM_MasterConfigTypeDef sMasterConfig = {0};
  TIM_OC_InitTypeDef sConfigOC = {0};
  TIM_BreakDeadTimeConfigTypeDef sBreakDeadTimeConfig = {0};

  htim8.Instance = TIM8;
  htim8.Init.Prescaler = 523;
  htim8.Init.CounterMode = TIM_COUNTERMODE_UP;
  htim8.Init.Period = 254;
  htim8.Init.ClockDivision = TIM_CLOCKDIVISION_DIV1;
  htim8.Init.RepetitionCounter = 0;
  htim8.Init.AutoReloadPreload = TIM_AUTORELOAD_PRELOAD_DISABLE;
  if (HAL_TIM_PWM_Init(&htim8) != HAL_OK)
  {
    Error_Handler();
  }
  sMasterConfig.MasterOutputTrigger = TIM_TRGO_RESET;
  sMasterConfig.MasterOutputTrigger2 = TIM_TRGO2_RESET;
  sMasterConfig.MasterSlaveMode = TIM_MASTERSLAVEMODE_DISABLE;
  if (HAL_TIMEx_MasterConfigSynchronization(&htim8, &sMasterConfig) != HAL_OK)
  {
    Error_Handler();
  }
  sConfigOC.OCMode = TIM_OCMODE_PWM1;
  sConfigOC.Pulse = 0;
  sConfigOC.OCPolarity = TIM_OCPOLARITY_HIGH;
  sConfigOC.OCNPolarity = TIM_OCNPOLARITY_HIGH;
  sConfigOC.OCFastMode = TIM_OCFAST_DISABLE;
  sConfigOC.OCIdleState = TIM_OCIDLESTATE_RESET;
  sConfigOC.OCNIdleState = TIM_OCNIDLESTATE_RESET;
  if (HAL_TIM_PWM_ConfigChannel(&htim8, &sConfigOC, TIM_CHANNEL_1) != HAL_OK)
  {
    Error_Handler();
  }
  if (HAL_TIM_PWM_ConfigChannel(&htim8, &sConfigOC, TIM_CHANNEL_2) != HAL_OK)
  {
    Error_Handler();
  }
  if (HAL_TIM_PWM_ConfigChannel(&htim8, &sConfigOC, TIM_CHANNEL_3) != HAL_OK)
  {
    Error_Handler();
  }
  sBreakDeadTimeConfig.OffStateRunMode = TIM_OSSR_DISABLE;
  sBreakDeadTimeConfig.OffStateIDLEMode = TIM_OSSI_DISABLE;
  sBreakDeadTimeConfig.LockLevel = TIM_LOCKLEVEL_OFF;
  sBreakDeadTimeConfig.DeadTime = 0;
  sBreakDeadTimeConfig.BreakState = TIM_BREAK_DISABLE;
  sBreakDeadTimeConfig.BreakPolarity = TIM_BREAKPOLARITY_HIGH;
  sBreakDeadTimeConfig.BreakFilter = 0;
  sBreakDeadTimeConfig.BreakAFMode = TIM_BREAK_AFMODE_INPUT;
  sBreakDeadTimeConfig.Break2State = TIM_BREAK2_DISABLE;
  sBreakDeadTimeConfig.Break2Polarity = TIM_BREAK2POLARITY_HIGH;
  sBreakDeadTimeConfig.Break2Filter = 0;
  sBreakDeadTimeConfig.Break2AFMode = TIM_BREAK_AFMODE_INPUT;
  sBreakDeadTimeConfig.AutomaticOutput = TIM_AUTOMATICOUTPUT_DISABLE;
  if (HAL_TIMEx_ConfigBreakDeadTime(&htim8, &sBreakDeadTimeConfig) != HAL_OK)
  {
    Error_Handler();
  }
  HAL_TIM_MspPostInit(&htim8);

}

static void MX_TIM17_Init(void)
{

  htim17.Instance = TIM17;
  htim17.Init.Prescaler = 150;
  htim17.Init.CounterMode = TIM_COUNTERMODE_UP;
  htim17.Init.Period = 65535;
  htim17.Init.ClockDivision = TIM_CLOCKDIVISION_DIV1;
  htim17.Init.RepetitionCounter = 0;
  htim17.Init.AutoReloadPreload = TIM_AUTORELOAD_PRELOAD_DISABLE;
  if (HAL_TIM_Base_Init(&htim17) != HAL_OK)
  {
    Error_Handler();
  }

}

static void MX_USART3_UART_Init(void)
{

  huart3.Instance = USART3;
  huart3.Init.BaudRate = 115200;
  huart3.Init.WordLength = UART_WORDLENGTH_8B;
  huart3.Init.StopBits = UART_STOPBITS_1;
  huart3.Init.Parity = UART_PARITY_NONE;
  huart3.Init.Mode = UART_MODE_TX_RX;
  huart3.Init.HwFlowCtl = UART_HWCONTROL_NONE;
  huart3.Init.OverSampling = UART_OVERSAMPLING_16;
  huart3.Init.OneBitSampling = UART_ONE_BIT_SAMPLE_DISABLE;
  huart3.Init.ClockPrescaler = UART_PRESCALER_DIV1;
  huart3.AdvancedInit.AdvFeatureInit = UART_ADVFEATURE_NO_INIT;
  if (HAL_UART_Init(&huart3) != HAL_OK)
  {
    Error_Handler();
  }
  if (HAL_UARTEx_SetTxFifoThreshold(&huart3, UART_TXFIFO_THRESHOLD_1_8) != HAL_OK)
  {
    Error_Handler();
  }
  if (HAL_UARTEx_SetRxFifoThreshold(&huart3, UART_RXFIFO_THRESHOLD_1_8) != HAL_OK)
  {
    Error_Handler();
  }
  if (HAL_UARTEx_DisableFifoMode(&huart3) != HAL_OK)
  {
    Error_Handler();
  }

}

static void MX_GPIO_Init(void)
{
  GPIO_InitTypeDef GPIO_InitStruct = {0};

  /* GPIO Ports Clock Enable */
  __HAL_RCC_GPIOA_CLK_ENABLE();
  __HAL_RCC_GPIOB_CLK_ENABLE();
  __HAL_RCC_GPIOC_CLK_ENABLE();

  /*Configure GPIO pin Output Level */
  HAL_GPIO_WritePin(GPIOB, GPIO_PIN_1|GPIO_PIN_6|GPIO_PIN_7, GPIO_PIN_RESET);

  /*Configure GPIO pin Output Level */
  HAL_GPIO_WritePin(GPIOA, GPIO_PIN_11, GPIO_PIN_RESET);

  /*Configure GPIO pin Output Level */
  HAL_GPIO_WritePin(GPIOC, GPIO_PIN_10|GPIO_PIN_11, GPIO_PIN_RESET);

  /*Configure GPIO pins : PB1 PB6 PB7 */
  GPIO_InitStruct.Pin = GPIO_PIN_1|GPIO_PIN_6|GPIO_PIN_7;
  GPIO_InitStruct.Mode = GPIO_MODE_OUTPUT_PP;
  GPIO_InitStruct.Pull = GPIO_NOPULL;
  GPIO_InitStruct.Speed = GPIO_SPEED_FREQ_LOW;
  HAL_GPIO_Init(GPIOB, &GPIO_InitStruct);

  /*Configure GPIO pin : PB2 */
  GPIO_InitStruct.Pin = GPIO_PIN_2;
  GPIO_InitStruct.Mode = GPIO_MODE_IT_RISING;
  GPIO_InitStruct.Pull = GPIO_NOPULL;
  HAL_GPIO_Init(GPIOB, &GPIO_InitStruct);

  /*Configure GPIO pin : PB12 */
  GPIO_InitStruct.Pin = GPIO_PIN_12;
  GPIO_InitStruct.Mode = GPIO_MODE_INPUT;
  GPIO_InitStruct.Pull = GPIO_NOPULL;
  HAL_GPIO_Init(GPIOB, &GPIO_InitStruct);

  /*Configure GPIO pin : PA11 */
  GPIO_InitStruct.Pin = GPIO_PIN_11;
  GPIO_InitStruct.Mode = GPIO_MODE_OUTPUT_PP;
  GPIO_InitStruct.Pull = GPIO_NOPULL;
  GPIO_InitStruct.Speed = GPIO_SPEED_FREQ_LOW;
  HAL_GPIO_Init(GPIOA, &GPIO_InitStruct);

  /*Configure GPIO pin : PA12 */
  GPIO_InitStruct.Pin = GPIO_PIN_12;
  GPIO_InitStruct.Mode = GPIO_MODE_INPUT;
  GPIO_InitStruct.Pull = GPIO_NOPULL;
  HAL_GPIO_Init(GPIOA, &GPIO_InitStruct);

  /*Configure GPIO pins : PC10 PC11 */
  GPIO_InitStruct.Pin = GPIO_PIN_10|GPIO_PIN_11;
  GPIO_InitStruct.Mode = GPIO_MODE_OUTPUT_PP;
  GPIO_InitStruct.Pull = GPIO_NOPULL;
  GPIO_InitStruct.Speed = GPIO_SPEED_FREQ_LOW;
  HAL_GPIO_Init(GPIOC, &GPIO_InitStruct);

  /* EXTI interrupt init*/
  HAL_NVIC_SetPriority(EXTI2_IRQn, 0, 0);
  HAL_NVIC_EnableIRQ(EXTI2_IRQn);

}

void Error_Handler(void)
{
  __disable_irq();
  while (1)
  {
  }
}
